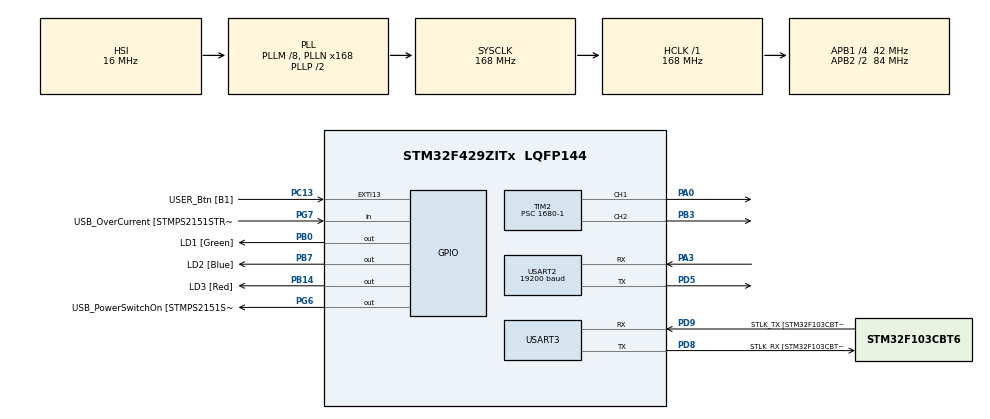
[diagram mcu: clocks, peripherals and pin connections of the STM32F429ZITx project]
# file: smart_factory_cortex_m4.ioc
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Mcu.Family=STM32F4
Mcu.Name=STM32F429ZITx
Mcu.Package=LQFP144
NVIC.PriorityGroup=NVIC_PRIORITYGROUP_4
NVIC.TIM3_IRQn=true\:0\:0\:false\:false\:true\:true\:true\:true
NVIC.USART2_IRQn=true\:0\:0\:false\:false\:true\:true\:true\:true
NVIC.USART3_IRQn=true\:0\:0\:false\:false\:true\:true\:true\:true
PA0/WKUP.Signal=S_TIM2_CH1_ETR
PA1.GPIO_Label=RMII_REF_CLK [LAN8742A-CZ-TR_REFCLK0]
PA1.Signal=ETH_REF_CLK
PA10.GPIO_Label=USB_ID
PA10.Signal=USB_OTG_FS_ID
PA11.GPIO_Label=USB_DM
PA11.Signal=USB_OTG_FS_DM
PA12.GPIO_Label=USB_DP
PA12.Signal=USB_OTG_FS_DP
PA13.GPIO_Label=TMS
PA13.Mode=Serial_Wire
PA13.Signal=SYS_JTMS-SWDIO
PA14.GPIO_Label=TCK
PA14.Mode=Serial_Wire
PA14.Signal=SYS_JTCK-SWCLK
PA2.GPIO_Label=RMII_MDIO [LAN8742A-CZ-TR_MDIO]
PA2.Signal=ETH_MDIO
PA3.Mode=Asynchronous
PA3.Signal=USART2_RX
PA7.GPIO_Label=RMII_CRS_DV [LAN8742A-CZ-TR_CRS_DV]
PA7.Signal=ETH_CRS_DV
PA8.GPIO_Label=USB_SOF [TP1]
PA8.Signal=USB_OTG_FS_SOF
PA9.GPIO_Label=USB_VBUS
PA9.Signal=USB_OTG_FS_VBUS
PB0.GPIO_Label=LD1 [Green]
PB0.Signal=GPIO_Output
PB13.GPIO_Label=RMII_TXD1 [LAN8742A-CZ-TR_TXD1]
PB13.Signal=ETH_TXD1
PB14.GPIO_Label=LD3 [Red]
PB14.Signal=GPIO_Output
PB3.Signal=S_TIM2_CH2
PB7.GPIO_Label=LD2 [Blue]
PB7.Signal=GPIO_Output
PC1.GPIO_Label=RMII_MDC [LAN8742A-CZ-TR_MDC]
PC1.Signal=ETH_MDC
PC13.GPIO_Label=USER_Btn [B1]
PC13.Signal=GPXTI13
PC14/OSC32_IN.Mode=LSE-External-Oscillator
PC14/OSC32_IN.Signal=RCC_OSC32_IN
PC15/OSC32_OUT.Mode=LSE-External-Oscillator
PC15/OSC32_OUT.Signal=RCC_OSC32_OUT
PC4.GPIO_Label=RMII_RXD0 [LAN8742A-CZ-TR_RXD0]
PC4.Signal=ETH_RXD0
PC5.GPIO_Label=RMII_RXD1 [LAN8742A-CZ-TR_RXD1]
PC5.Signal=ETH_RXD1
PD5.Mode=Asynchronous
PD5.Signal=USART2_TX
PD8.GPIO_Label=STLK_RX [STM32F103CBT6_PA3]
PD8.Mode=Asynchronous
PD8.Signal=USART3_TX
PD9.GPIO_Label=STLK_TX [STM32F103CBT6_PA2]
PD9.Mode=Asynchronous
PD9.Signal=USART3_RX
PG11.GPIO_Label=RMII_TX_EN [LAN8742A-CZ-TR_TXEN]
PG11.Signal=ETH_TX_EN
PG13.GPIO_Label=RMII_TXD0 [LAN8742A-CZ-TR_TXD0]
PG13.Signal=ETH_TXD0
PG6.GPIO_Label=USB_PowerSwitchOn [STMPS2151STR_EN]
PG6.Signal=GPIO_Output
PG7.GPIO_Label=USB_OverCurrent [STMPS2151STR_FAULT]
PG7.Signal=GPIO_Input
PH0/OSC_IN.GPIO_Label=MCO [STM32F103CBT6_PA8]
PH0/OSC_IN.Mode=HSE-External-Clock-Source
PH0/OSC_IN.Signal=RCC_OSC_IN
PH1/OSC_OUT.Mode=HSE-External-Clock-Source
PH1/OSC_OUT.Signal=RCC_OSC_OUT
ProjectManager.HeapSize=0x200
ProjectManager.StackSize=0x400
ProjectManager.TargetToolchain=STM32CubeIDE
RCC.48MHZClocksFreq_Value=48000000
RCC.AHBFreq_Value=168000000
RCC.APB1CLKDivider=RCC_HCLK_DIV4
RCC.APB1Freq_Value=42000000
RCC.APB1TimFreq_Value=84000000
RCC.APB2CLKDivider=RCC_HCLK_DIV2
RCC.APB2Freq_Value=84000000
RCC.APB2TimFreq_Value=168000000
RCC.CortexFreq_Value=168000000
RCC.HCLKFreq_Value=168000000
RCC.HSE_VALUE=8000000
RCC.HSI_VALUE=16000000
RCC.PLLM=8
RCC.PLLMUL=RCC_PLL_MUL9
RCC.PLLN=168
RCC.PLLQ=7
RCC.PRESCALERUSB=RCC_USBCLKSOURCE_PLL_DIV1_5
RCC.SYSCLKFreq_VALUE=168000000
RCC.SYSCLKSource=RCC_SYSCLKSOURCE_PLLCLK
RCC.SYSCLKSourceVirtual=RCC_SYSCLKSOURCE_PLLCLK
RCC.USBFreq_Value=48000000
RCC.VCOOutputFreq_Value=336000000
SH.S_TIM2_CH1_ETR.0=TIM2_CH1,PWM Generation1 CH1
SH.S_TIM2_CH2.0=TIM2_CH2,PWM Generation2 CH2
TIM2.Channel-PWM\ Generation1\ CH1=TIM_CHANNEL_1
TIM2.Channel-PWM\ Generation2\ CH2=TIM_CHANNEL_2
TIM2.Period=1000-1
TIM2.Prescaler=1680-1
TIM2.Pulse-PWM\ Generation1\ CH1=75-1
TIM2.Pulse-PWM\ Generation2\ CH2=75-1
TIM3.Period=4000-1
TIM3.Prescaler=84-1
USART2.BaudRate=19200
USART2.VirtualMode=VM_ASYNC
USART3.VirtualMode=VM_ASYNC
VP_TIM2_VS_ClockSourceINT.Mode=Internal
VP_TIM3_VS_ClockSourceINT.Mode=Internal
board=NUCLEO-F429ZI

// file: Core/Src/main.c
/* USER CODE BEGIN Header */
/**
 ******************************************************************************
 * @file           : main.c
 * @brief          : Main program body
 ******************************************************************************
 * @attention
 *
 * Copyright (c) 2023 STMicroelectronics.
 * All rights reserved.
 *
 * This software is licensed under terms that can be found in the LICENSE file
 * in the root directory of this software component.
 * If no LICENSE file comes with this software, it is provided AS-IS.
 *
 ******************************************************************************
 */
/* USER CODE END Header */
#include "main.h"
#include "tim.h"
#include "usart.h"
#include "gpio.h"
#include "wifi.h"

/* USER CODE BEGIN Includes */
#include <stdio.h>
#include <stdlib.h>
#include <string.h>
/* USER CODE END Includes */

/* USER CODE BEGIN PD */
#define CMD_SIZE 50
#define ARR_CNT 5
/* USER CODE END PD */

/* USER CODE BEGIN PV */
char sendData[50]={0};  //wifi send buff
char recvData[50]={0};  //wifi recv buff
extern char rx3Data[50];
extern char rx2Data;
extern volatile unsigned char rx2Flag;
extern volatile unsigned char rx3Flag;
extern volatile unsigned long systick_sec;            //1sec
extern volatile int systick_secFlag;
extern volatile char uart2_rxdata[5][100];
/* USER CODE END PV */

void SystemClock_Config(void);
/* USER CODE BEGIN PFP */
#ifdef __GNUC__
/* With GCC, small printf (option LD Linker->Libraries->Small printf
   set to 'Yes') calls __io_putchar() */
#define PUTCHAR_PROTOTYPE int __io_putchar(int ch)
#else
#define PUTCHAR_PROTOTYPE int fputc(int ch, FILE *f)
#endif /* __GNUC__ */

PUTCHAR_PROTOTYPE
{
	(void)HAL_UART_Transmit(&huart3, (uint8_t *)&ch, 1, 100);
	return ch;
}

/* USER CODE END PFP */

int main(void)
{

	/* MCU Configuration--------------------------------------------------------*/

	/* Reset of all peripherals, Initializes the Flash interface and the Systick. */
	HAL_Init();

	/* Configure the system clock */
	SystemClock_Config();

	/* Initialize all configured peripherals */
	MX_GPIO_Init();
	MX_USART3_UART_Init();
	MX_TIM2_Init();
	MX_USART2_UART_Init();
	Serial3_Send_String("start main()\r\n");
	MX_TIM3_Init();
	/* USER CODE BEGIN 2 */
	WIFI_init();
	sprintf(sendData,"["LOGID":"PASSWD"]");
	WIFI_send(sendData);
	/* USER CODE END 2 */

	/* Infinite loop */
	/* USER CODE BEGIN WHILE */
	while (1)
	{
		recvData[0] = 0;
		if(wifi_wait("+IPD","+IPD", 50))  //수신포멧 :  +IPD,6:hello  끝문자 0x0a
		{
			for(int i=0;i<5;i++)
			{
				if(strncmp((char *)uart2_rxdata[i],"+IPD",4)==0)
				{
					strcpy(recvData,(char *)(uart2_rxdata[i]+8));
					recvData[strlen((char *)(uart2_rxdata[i]+8)) - 1] = 0;
				}
			}
		}

		if(rx3Flag)
		{
			printf("rx3Data : %s\r\n",rx3Data);
//			Serial2_Send_String(rx3Data);
//			Serial2_Send_String("\r");
			rx3Flag = 0;
		}
		if(recvData[0] != 0)
		{
			Serial2_Event();
			recvData[0] = 0;
		}
	/* USER CODE END WHILE */
	}
}

void SystemClock_Config(void)
{
	RCC_OscInitTypeDef RCC_OscInitStruct = {0};
	RCC_ClkInitTypeDef RCC_ClkInitStruct = {0};

	/** Configure the main internal regulator output voltage
	 */
	__HAL_RCC_PWR_CLK_ENABLE();
	__HAL_PWR_VOLTAGESCALING_CONFIG(PWR_REGULATOR_VOLTAGE_SCALE1);

	/** Initializes the RCC Oscillators according to the specified parameters
	 * in the RCC_OscInitTypeDef structure.
	 */
	RCC_OscInitStruct.OscillatorType = RCC_OSCILLATORTYPE_HSI;
	RCC_OscInitStruct.HSIState = RCC_HSI_ON;
	RCC_OscInitStruct.HSICalibrationValue = RCC_HSICALIBRATION_DEFAULT;
	RCC_OscInitStruct.PLL.PLLState = RCC_PLL_ON;
	RCC_OscInitStruct.PLL.PLLSource = RCC_PLLSOURCE_HSI;
	RCC_OscInitStruct.PLL.PLLM = 8;
	RCC_OscInitStruct.PLL.PLLN = 168;
	RCC_OscInitStruct.PLL.PLLP = RCC_PLLP_DIV2;
	RCC_OscInitStruct.PLL.PLLQ = 7;
	if (HAL_RCC_OscConfig(&RCC_OscInitStruct) != HAL_OK)
	{
		Error_Handler();
	}

	/** Initializes the CPU, AHB and APB buses clocks
	 */
	RCC_ClkInitStruct.ClockType = RCC_CLOCKTYPE_HCLK|RCC_CLOCKTYPE_SYSCLK
			|RCC_CLOCKTYPE_PCLK1|RCC_CLOCKTYPE_PCLK2;
	RCC_ClkInitStruct.SYSCLKSource = RCC_SYSCLKSOURCE_PLLCLK;
	RCC_ClkInitStruct.AHBCLKDivider = RCC_SYSCLK_DIV1;
	RCC_ClkInitStruct.APB1CLKDivider = RCC_HCLK_DIV4;
	RCC_ClkInitStruct.APB2CLKDivider = RCC_HCLK_DIV2;

	if (HAL_RCC_ClockConfig(&RCC_ClkInitStruct, FLASH_LATENCY_5) != HAL_OK)
	{
		Error_Handler();
	}
}

/* USER CODE BEGIN 4 */
void Serial2_Event()
{

//  Serial3_Send_String(rx2Data);
//  Serial3_Send_String("\r\n");

  int i=0;
  int num;
  char * pToken;
  char * pArray[ARR_CNT]={0};
  char recvBuf[CMD_SIZE]={0};

  strcpy(recvBuf,recvData);
//  Serial3_Send_String(recvBuf);
//  Serial3_Send_String("\n\r");
  printf("rx2Data : %s\r\n",recvBuf);

  pToken = strtok(recvBuf,"[@]");

  while(pToken != NULL)
  {
    pArray[i] = pToken;
    if(++i >= ARR_CNT)
      break;
    pToken = strtok(NULL,"[@]");
  }

  if(!strcmp(pArray[2],"SERVO"))
  {
    if(pArray[3] != NULL)
      num = atoi(pArray[3]);
    else
      num = 0;
    if(!strcmp(pArray[3],"1"))
    {
    	printf("SERVO 1 ON!!!!!!!\r\n");
    	TIM2->CCR1 = 25;
    }
    else if(!strcmp(pArray[3],"2"))
    {
    	printf("SERVO 2 ON!!!!!!!\r\n");
    	TIM2->CCR1 = 75;
    }
    else if(!strcmp(pArray[3],"3"))
    {
    	printf("SERVO 3 ON!!!!!!!\r\n");
    	TIM2->CCR1 = 120;
    }
  }
  else if(!strncmp(pArray[2]," New conn",8))
  {
     return;
  }
  else if(!strncmp(pArray[2]," Already log",8))
  {
      connectWiFi();
      sprintf(sendData,"["LOGID":"PASSWD"]");
      WIFI_send(sendData);
      return;
  }
  else
      return;

   sprintf(sendData,"[%s]%s@%s@ON\n",pArray[0],pArray[1],pArray[2]);
   WIFI_send(sendData);
}

/* USER CODE END 4 */

void Error_Handler(void)
{
	__disable_irq();
	while (1)
	{
	}
}
